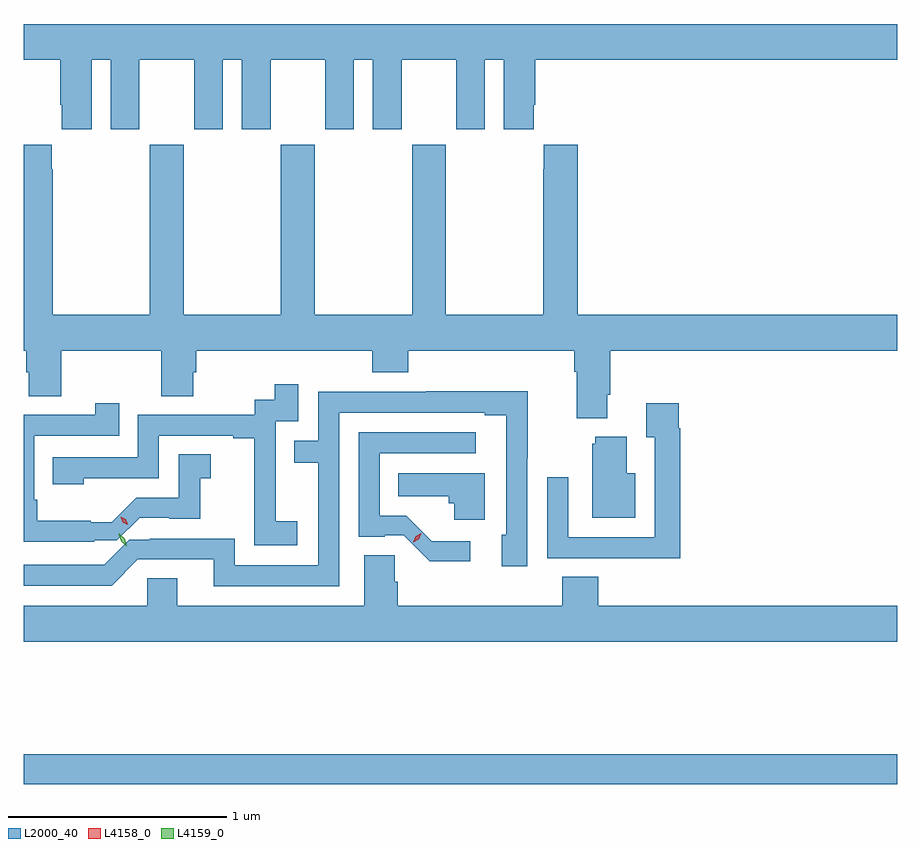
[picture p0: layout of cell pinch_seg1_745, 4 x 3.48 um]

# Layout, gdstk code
import gdstk
lib = gdstk.Library(unit=1e-6, precision=1e-09)
def R(c, l, rs):  # rectangles x0, y0, x1, y1
    for r in rs: c.add(gdstk.rectangle(r[:2], r[2:], *l))
def P(c, l, *ps):  # polygons
    for p in ps: c.add(gdstk.Polygon(p, *l))
L2000_40 = (2000, 40)
L4158_0 = (4158, 0)
L4159_0 = (4159, 0)

pinch_seg1_745 = lib.new_cell('pinch_seg1_745')
R(pinch_seg1_745, L2000_40, [(861.137,507.124,865.137,507.26)])
P(pinch_seg1_745, L2000_40, [(861.448,510.44),(861.536,510.44),(861.536,510.123),(861.667,510.123),(861.667,510.44),(861.917,510.44),(861.917,510.123),(862.048,510.123),(862.048,510.44),(862.136,510.44),(862.136,510.123),(862.267,510.123),(862.267,510.44),(862.517,510.44),(862.517,510.123),(862.648,510.123),(862.648,510.44),(862.736,510.44),(862.736,510.123),(862.867,510.123),(862.867,510.44),(863.117,510.44),(863.117,510.123),(863.248,510.123),(863.248,510.44),(863.336,510.44),(863.336,510.123),(863.473,510.123),(863.473,510.235),(863.48,510.235),(863.48,510.44),(865.137,510.44),(865.137,510.604),(861.137,510.604),(861.137,510.44),(861.305,510.44),(861.305,510.235),(861.311,510.235),(861.311,510.123),(861.448,510.123)],
  [(863.809,508.906),(863.822,508.906),(863.822,509.108),(865.137,509.108),(865.137,509.272),(863.675,509.272),(863.675,510.052),(863.519,510.052),(863.519,509.939),(863.515,509.939),(863.515,509.272),(863.07,509.272),(863.07,510.052),(862.915,510.052),(862.915,509.272),(862.47,509.272),(862.47,510.052),(862.315,510.052),(862.315,509.272),(861.87,509.272),(861.87,510.052),(861.715,510.052),(861.715,509.272),(861.27,509.272),(861.27,509.939),(861.265,509.939),(861.265,510.052),(861.137,510.052),(861.137,509.108),(861.149,509.108),(861.149,509.01),(861.161,509.01),(861.161,508.9),(861.309,508.9),(861.309,509.108),(861.766,509.108),(861.766,508.9),(861.913,508.9),(861.913,509.01),(861.926,509.01),(861.926,509.108),(862.733,509.108),(862.733,509.009),(862.898,509.009),(862.898,509.108),(863.657,509.108),(863.657,509.012),(863.669,509.012),(863.669,508.799),(863.809,508.799)],
  [(862.39,508.327),(862.292,508.327),(862.292,508.556),(862.29,508.556),(862.29,508.785),(862.395,508.785),(862.395,508.954),(862.287,508.954),(862.287,508.884),(862.194,508.884),(862.194,508.815),(861.66,508.815),(861.66,508.62),(861.271,508.62),(861.271,508.496),(861.411,508.496),(861.411,508.524),(861.756,508.524),(861.756,508.719),(862.097,508.719),(862.097,508.707),(862.193,508.707),(862.193,508.423),(862.192,508.423),(862.192,508.217),(862.39,508.217)],
  [(862.581,508.824),(863.249,508.824),(863.249,508.812),(863.346,508.812),(863.346,508.266),(863.327,508.266),(863.327,508.122),(863.442,508.122),(863.442,508.615),(863.445,508.615),(863.445,508.922),(862.981,508.922),(862.981,508.92),(862.485,508.92),(862.485,508.695),(862.375,508.695),(862.375,508.594),(862.485,508.594),(862.485,508.125),(862.104,508.125),(862.104,508.248),(861.715,508.248),(861.715,508.242),(861.62,508.242),(861.506,508.128),(861.137,508.128),(861.137,508.032),(861.54,508.032),(861.66,508.152),(862.007,508.152),(862.007,508.029),(862.581,508.029)],
  [(861.461,508.239),(861.564,508.239),(861.669,508.344),(861.803,508.344),(861.803,508.338),(861.945,508.338),(861.945,508.523),(861.994,508.523),(861.994,508.633),(861.846,508.633),(861.846,508.434),(861.652,508.434),(861.541,508.323),(861.444,508.323),(861.444,508.33),(861.199,508.33),(861.199,508.426),(861.186,508.426),(861.186,508.719),(861.575,508.719),(861.575,508.867),(861.464,508.867),(861.464,508.815),(861.137,508.815),(861.137,508.233),(861.461,508.233)],
  [(864.143,508.754),(864.136,508.754),(864.136,508.867),(863.987,508.867),(863.987,508.711),(864.027,508.711),(864.027,508.254),(863.631,508.254),(863.631,508.528),(863.535,508.528),(863.535,508.158),(863.851,508.158),(863.851,508.157),(864.143,508.157)],
  [(863.182,508.236),(863.005,508.236),(862.888,508.353),(862.767,508.353),(862.767,508.638),(863.206,508.638),(863.206,508.734),(862.671,508.734),(862.671,508.257),(862.791,508.257),(862.791,508.263),(862.877,508.263),(862.996,508.145),(863.182,508.145)],
  [(863.938,508.546),(863.899,508.546),(863.899,508.714),(863.753,508.714),(863.753,508.683),(863.741,508.683),(863.741,508.343),(863.938,508.343)],
  [(863.248,508.546),(862.852,508.546),(862.852,508.442),(863.083,508.442),(863.083,508.41),(863.108,508.41),(863.108,508.334),(863.248,508.334)],
  [(865.137,507.94),(863.768,507.94),(863.768,508.073),(863.603,508.073),(863.603,507.94),(862.85,507.94),(862.85,508.049),(862.836,508.049),(862.836,508.172),(862.697,508.172),(862.697,507.94),(861.841,507.94),(861.841,508.067),(861.702,508.067),(861.702,507.94),(861.137,507.94),(861.137,507.776),(865.137,507.776)])
P(pinch_seg1_745, L4158_0, [(862.92,508.23),(862.92,508.23),(862.931,508.258),(862.957,508.272),(862.957,508.272),(862.957,508.272),(862.946,508.245),(862.92,508.23)],
  [(861.614,508.312),(861.59,508.323),(861.581,508.348),(861.581,508.348),(861.582,508.348),(861.605,508.337),(861.614,508.312),(861.614,508.312)])
P(pinch_seg1_745, L4159_0, [(861.608,508.212),(861.583,508.235),(861.573,508.269),(861.573,508.269),(861.574,508.269),(861.599,508.246),(861.609,508.212),(861.609,508.212)])

lib.write_gds('pinch_seg1_745.gds')
